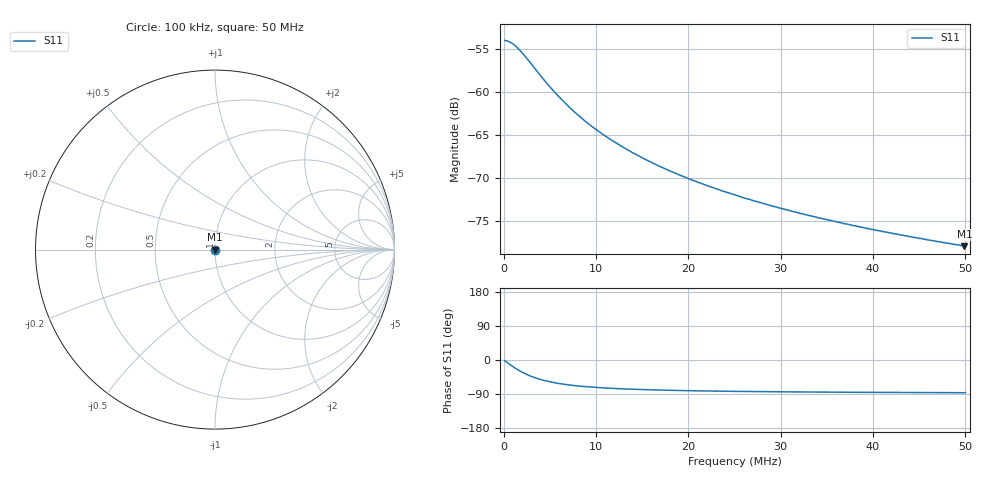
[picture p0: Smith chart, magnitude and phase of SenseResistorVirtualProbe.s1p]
# MHz MA S R 50.0
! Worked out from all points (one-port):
!   500 points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, 100 kHz to 50 MHz, reference 50 ohm
!   lowest |S11| = -77.9 dB at 49.9 MHz (marker M1), VSWR 1.00, Z = 50 - j0.0127 ohm
!   |S11| at or under -10 dB: start of sweep to end of sweep
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0.1  0.001999 -1.8
0.4  0.001985 -7.2
0.8  0.00194 -14.1
1.2  0.001872 -20.7
1.6  0.001787 -26.7
2.3  0.001621 -35.9
4.8  0.001105 -56.4
5.6  0.000988 -60.4
6.4  0.000891 -63.6
7.6  0.000773 -67.3
9.3  0.000648 -71.1
10.6  0.000575 -73.3
12.6  0.00049 -75.8
13.9  0.000446 -77.1
15.5  0.000402 -78.4
16.9  0.00037 -79.3
18.9  0.000332 -80.4
21.9  0.000288 -81.7
23.7  0.000266 -82.4
25.1  0.000252 -82.8
27  0.000234 -83.3
31.3  0.000202 -84.2
34.2  0.000185 -84.7
37.6  0.000169 -85.2
40.5  0.000157 -85.5
43.8  0.000145 -85.8
49.9  0.000127 -86.4
50  0.000127 -86.4
